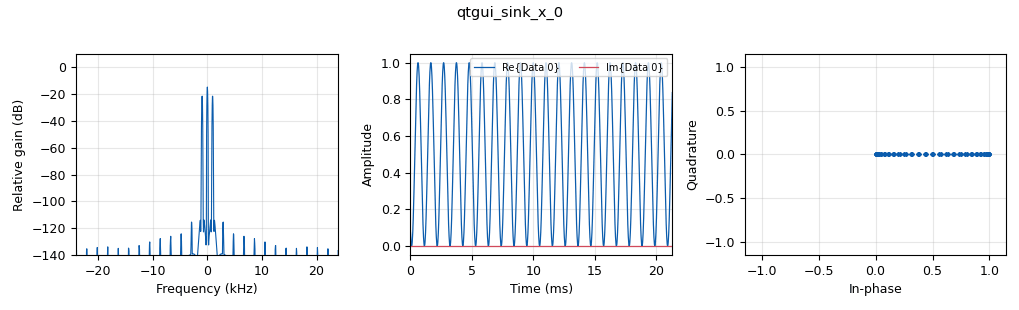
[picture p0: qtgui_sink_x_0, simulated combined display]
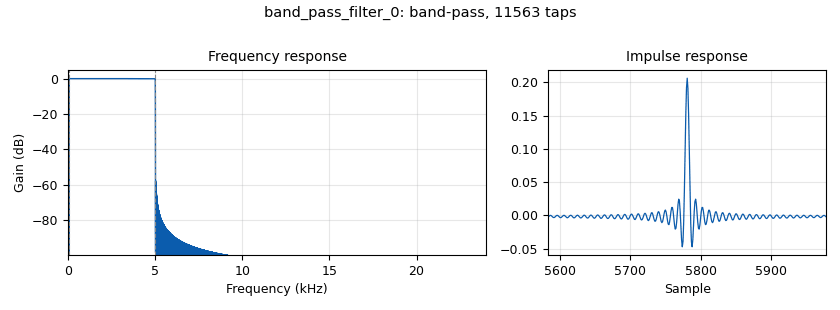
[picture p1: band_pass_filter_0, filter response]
<?xml version='1.0' encoding='utf-8'?>
<?grc format='1' created='3.7.13'?>
<flow_graph>
<block>
<key>options</key>
<param><key>id</key><value>top_block</value></param>
<param><key>generate_options</key><value>qt_gui</value></param>
</block>
<block>
<key>variable_qtgui_range</key>
<param><key>id</key><value>amindex</value></param>
<param><key>value</key><value>1</value></param>
<param><key>label</key><value>AM Modulation Index</value></param>
<param><key>orient</key><value>Qt.Horizontal</value></param>
<param><key>start</key><value>.1</value></param>
<param><key>step</key><value>.01</value></param>
<param><key>stop</key><value>1.3</value></param>
</block>
<block>
<key>variable_qtgui_range</key>
<param><key>id</key><value>audiomax</value></param>
<param><key>value</key><value>5000</value></param>
<param><key>label</key><value>Max Audio Frequency</value></param>
<param><key>orient</key><value>Qt.Horizontal</value></param>
<param><key>start</key><value>200</value></param>
<param><key>step</key><value>1</value></param>
<param><key>stop</key><value>12000</value></param>
</block>
<block>
<key>variable_qtgui_range</key>
<param><key>id</key><value>imagescale</value></param>
<param><key>value</key><value>.1</value></param>
<param><key>label</key><value>Image Scale Factor</value></param>
<param><key>orient</key><value>Qt.Horizontal</value></param>
<param><key>start</key><value>0</value></param>
<param><key>step</key><value>.01</value></param>
<param><key>stop</key><value>1</value></param>
</block>
<block>
<key>variable_qtgui_entry</key>
<param><key>id</key><value>rf</value></param>
<param><key>value</key><value>3.885e6</value></param>
<param><key>label</key><value>RF Frequency</value></param>
<param><key>type</key><value>real</value></param>
</block>
<block>
<key>variable_qtgui_range</key>
<param><key>id</key><value>rfscale</value></param>
<param><key>value</key><value>0.5</value></param>
<param><key>label</key><value>RF Power Adjust</value></param>
<param><key>orient</key><value>Qt.Horizontal</value></param>
<param><key>start</key><value>0</value></param>
<param><key>step</key><value>0.001</value></param>
<param><key>stop</key><value>0.5</value></param>
</block>
<block>
<key>variable</key>
<param><key>id</key><value>samp_rate</value></param>
<param><key>value</key><value>48000</value></param>
</block>
<block>
<key>analog_const_source_x</key>
<param><key>id</key><value>analog_const_source_x_0</value></param>
<param><key>const</key><value>0</value></param>
<param><key>type</key><value>float</value></param>
</block>
<block>
<key>analog_sig_source_x</key>
<param><key>id</key><value>analog_sig_source_x_0</value></param>
<param><key>amp</key><value>1</value></param>
<param><key>freq</key><value>1000</value></param>
<param><key>offset</key><value>0</value></param>
<param><key>type</key><value>float</value></param>
<param><key>samp_rate</key><value>samp_rate</value></param>
<param><key>waveform</key><value>analog.GR_COS_WAVE</value></param>
</block>
<block>
<key>band_pass_filter</key>
<param><key>id</key><value>band_pass_filter_0</value></param>
<param><key>decim</key><value>1</value></param>
<param><key>type</key><value>fir_filter_fff</value></param>
<param><key>gain</key><value>1</value></param>
<param><key>high_cutoff_freq</key><value>audiomax</value></param>
<param><key>low_cutoff_freq</key><value>50</value></param>
<param><key>samp_rate</key><value>48000</value></param>
<param><key>width</key><value>10</value></param>
<param><key>win</key><value>firdes.WIN_HAMMING</value></param>
</block>
<block>
<key>blocks_add_const_vxx</key>
<param><key>id</key><value>blocks_add_const_vxx_0</value></param>
<param><key>const</key><value>1</value></param>
<param><key>type</key><value>float</value></param>
</block>
<block>
<key>blocks_float_to_complex</key>
<param><key>id</key><value>blocks_float_to_complex_0</value></param>
</block>
<block>
<key>blocks_multiply_const_xx</key>
<param><key>id</key><value>blocks_multiply_const_xx_0</value></param>
<param><key>const</key><value>amindex</value></param>
<param><key>type</key><value>float</value></param>
</block>
<block>
<key>blocks_multiply_const_xx</key>
<param><key>id</key><value>blocks_multiply_const_xx_2</value></param>
<param><key>const</key><value>rfscale</value></param>
<param><key>type</key><value>complex</value></param>
</block>
<block>
<key>osmosdr_sink</key>
<param><key>id</key><value>osmosdr_sink_0</value></param>
<param><key>bb_gain0</key><value>20</value></param>
<param><key>freq0</key><value>rf</value></param>
<param><key>if_gain0</key><value>20</value></param>
<param><key>gain0</key><value>50</value></param>
<param><key>args</key><value>redpitaya=192.168.1.100:1001</value></param>
<param><key>type</key><value>fc32</value></param>
<param><key>sample_rate</key><value>50e3</value></param>
<param><key>sync</key><value></value></param>
</block>
<block>
<key>qtgui_sink_x</key>
<param><key>id</key><value>qtgui_sink_x_0</value></param>
<param><key>bw</key><value>samp_rate</value></param>
<param><key>fc</key><value>0</value></param>
<param><key>freqchangevar</key><value>None</value></param>
<param><key>fftsize</key><value>1024</value></param>
<param><key>showports</key><value>True</value></param>
<param><key>type</key><value>complex</value></param>
<param><key>wintype</key><value>firdes.WIN_BLACKMAN_hARRIS</value></param>
</block>
<block>
<key>rational_resampler_xxx</key>
<param><key>id</key><value>rational_resampler_xxx_0</value></param>
<param><key>decim</key><value>24</value></param>
<param><key>interp</key><value>25</value></param>
<param><key>taps</key><value></value></param>
<param><key>type</key><value>fff</value></param>
</block>
<connection><source_block_id>analog_const_source_x_0</source_block_id><sink_block_id>blocks_float_to_complex_0</sink_block_id><source_key>0</source_key><sink_key>1</sink_key></connection>
<connection><source_block_id>analog_sig_source_x_0</source_block_id><sink_block_id>band_pass_filter_0</sink_block_id><source_key>0</source_key><sink_key>0</sink_key></connection>
<connection><source_block_id>band_pass_filter_0</source_block_id><sink_block_id>rational_resampler_xxx_0</sink_block_id><source_key>0</source_key><sink_key>0</sink_key></connection>
<connection><source_block_id>blocks_add_const_vxx_0</source_block_id><sink_block_id>blocks_float_to_complex_0</sink_block_id><source_key>0</source_key><sink_key>0</sink_key></connection>
<connection><source_block_id>blocks_float_to_complex_0</source_block_id><sink_block_id>blocks_multiply_const_xx_2</sink_block_id><source_key>0</source_key><sink_key>0</sink_key></connection>
<connection><source_block_id>blocks_multiply_const_xx_0</source_block_id><sink_block_id>blocks_add_const_vxx_0</sink_block_id><source_key>0</source_key><sink_key>0</sink_key></connection>
<connection><source_block_id>blocks_multiply_const_xx_2</source_block_id><sink_block_id>osmosdr_sink_0</sink_block_id><source_key>0</source_key><sink_key>0</sink_key></connection>
<connection><source_block_id>blocks_multiply_const_xx_2</source_block_id><sink_block_id>qtgui_sink_x_0</sink_block_id><source_key>0</source_key><sink_key>0</sink_key></connection>
<connection><source_block_id>rational_resampler_xxx_0</source_block_id><sink_block_id>blocks_multiply_const_xx_0</sink_block_id><source_key>0</source_key><sink_key>0</sink_key></connection>
</flow_graph>
